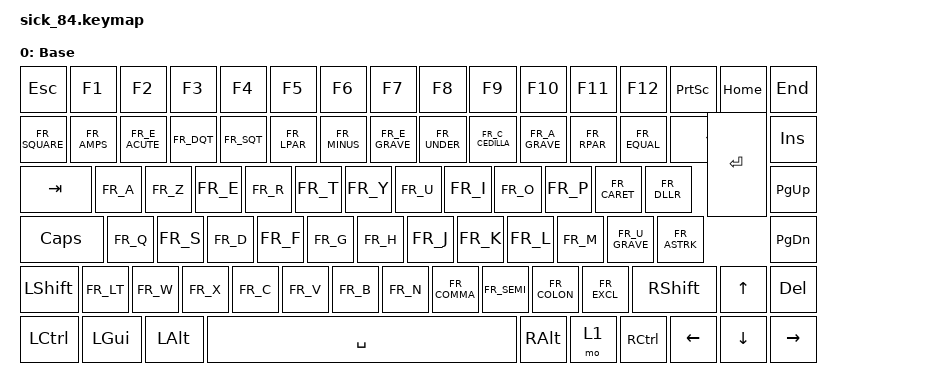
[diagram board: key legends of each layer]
// This file was generated from a template. Edit it to match your keyboard.
// See https://zmk.dev/docs/development/new-shield for more instructions.

#include <behaviors.dtsi>
#include <dt-bindings/zmk/keys.h>
#include <locale/keys_fr.h>

/ {
    keymap {
        compatible = "zmk,keymap";
        default_layer { // Layer 0
            display-name = "Base";
            // --------------------------------------------------------------------------------------------------------------------
            // | ESC   |  F1  |  F2 |  F3  |  F4  |  F5  |  F6  |  F7  |  F8  |  F9   |  F10 |  F11  | F12   |  PSCRN | HOME |  END  |
            // | ²     |  &   |  é  |  "   |  '   |  "(" |  -   |  è   |  _   |  ç    |  à   |  ")"  | =     |     BSPC      |  INS  | 
            // | TAB   |  A   |  Z  |  E   |  R   |  T   |  Y   |  U   |  I   |  O    |  P   |  ^    | $     |                 PG_UP |
            // | CAPS  |  Q   |  S  |  D   |  F   |  G   |  H   |  J   |  K   |  L    |  M   |  ù    | *     |     ENTER     | PG_DN |
            // | SHIFT |  <   |  W  |  X   |  C   |  V   |  B   |  N   |  ,   |  ;    |  :   |  !    | SHIFT |      UP       |  DEL  |
            // | CTRL  | GUI  | ALT |                  SPACE                  | ALTGR |  FN  |  CTRL | LEFT  |     DOWN      | RIGHT |

            bindings = <
                &kp ESC &kp F1 &kp F2 &kp F3 &kp F4 &kp F5 &kp F6 &kp F7 &kp F8 &kp F9 &kp F10 &kp F11 &kp F12 &kp PSCRN &kp HOME &kp END
                &kp FR_SQUARE &kp FR_AMPS &kp FR_E_ACUTE &kp FR_DQT &kp FR_SQT &kp FR_LPAR &kp FR_MINUS &kp FR_E_GRAVE &kp FR_UNDER &kp FR_C_CEDILLA &kp FR_A_GRAVE &kp FR_RPAR &kp FR_EQUAL &kp BSPC &kp INS
                &kp TAB &kp FR_A &kp FR_Z &kp FR_E &kp FR_R &kp FR_T &kp FR_Y &kp FR_U &kp FR_I &kp FR_O &kp FR_P &kp FR_CARET &kp FR_DLLR &kp PG_UP
                &kp CAPS &kp FR_Q &kp FR_S &kp FR_D &kp FR_F &kp FR_G &kp FR_H &kp FR_J &kp FR_K &kp FR_L &kp FR_M &kp FR_U_GRAVE &kp FR_ASTRK &kp ENTER &kp PG_DN 
                &kp LSHFT &kp FR_LT &kp FR_W &kp FR_X &kp FR_C &kp FR_V &kp FR_B &kp FR_N &kp FR_COMMA &kp FR_SEMI &kp FR_COLON &kp FR_EXCL &kp RSHFT &kp UP &kp DEL
                &kp LCTRL &kp LGUI &kp LALT &kp SPACE &kp RALT &mo 1 &kp RCTRL &kp LEFT &kp DOWN &kp RIGHT
            >;
        };

        extra1 {
            status = "reserved";
        };

        extra2 {
            status = "reserved";
        };

        // fn_layer { // Layer 1
        //     display-name = "Function";
        //     // --------------------------------------------------------------------------------------------------------------------
        //     // | ESC   |  F1  |  F2 |  F3  |  F4  |  F5  |  F6  |  F7  |  F8  |  F9   |  F10 |  F11  | F12   |  PSCRN | HOME |  END  |
        //     // | ²     |  &   |  é  |  "   |  '   |  "(" |  -   |  è   |  _   |  ç    |  à   |  ")"  | =     |     BSPC      |  INS  | 
        //     // | TAB   |  A   |  Z  |  E   |  R   |  T   |  Y   |  U   |  I   |  O    |  P   |  ^    | $     |                 PG_UP |
        //     // | CAPS  |  Q   |  S  |  D   |  F   |  G   |  H   |  J   |  K   |  L    |  M   |  ù    | *     |     ENTER     | PG_DN |
        //     // | SHIFT |  <   |  W  |  X   |  C   |  V   |  B   |  N   |  ,   |  ;    |  :   |  !    | SHIFT |      UP       |  DEL  |
        //     // | CTRL  | GUI  | ALT |                  SPACE                  | ALTGR |  FN  |  CTRL | LEFT  |     DOWN      | RIGHT |

        //     bindings = <
                
        //     >;
        // };
    };
}; 
  
